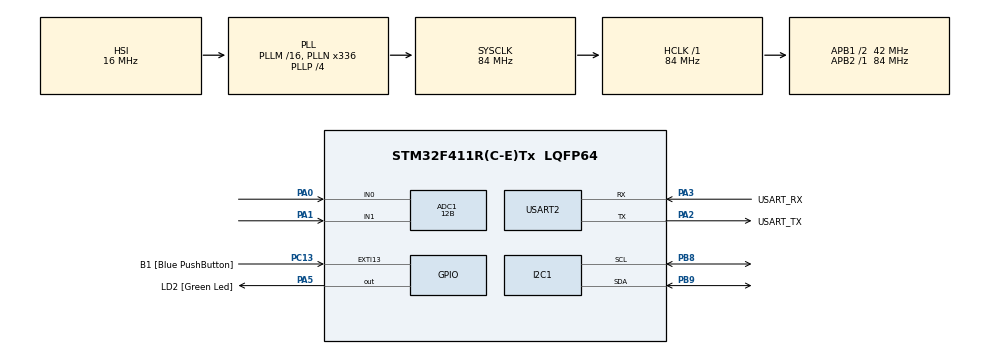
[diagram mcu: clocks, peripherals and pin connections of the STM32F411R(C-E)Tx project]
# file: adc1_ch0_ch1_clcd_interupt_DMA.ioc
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ADC1.Channel-0\#ChannelRegularConversion=ADC_CHANNEL_0
ADC1.Channel-1\#ChannelRegularConversion=ADC_CHANNEL_1
ADC1.ClockPrescaler=ADC_CLOCK_SYNC_PCLK_DIV6
ADC1.DMAContinuousRequests=ENABLE
ADC1.NbrOfConversion=2
ADC1.NbrOfConversionFlag=1
ADC1.Rank-0\#ChannelRegularConversion=1
ADC1.Rank-1\#ChannelRegularConversion=2
ADC1.Resolution=ADC_RESOLUTION_12B
ADC1.SamplingTime-0\#ChannelRegularConversion=ADC_SAMPLETIME_56CYCLES
ADC1.SamplingTime-1\#ChannelRegularConversion=ADC_SAMPLETIME_56CYCLES
ADC1.ScanConvMode=ENABLE
ADC1.master=1
Dma.ADC1.0.Direction=DMA_PERIPH_TO_MEMORY
Dma.ADC1.0.FIFOMode=DMA_FIFOMODE_DISABLE
Dma.ADC1.0.Instance=DMA2_Stream0
Dma.ADC1.0.MemDataAlignment=DMA_MDATAALIGN_HALFWORD
Dma.ADC1.0.MemInc=DMA_MINC_ENABLE
Dma.ADC1.0.Mode=DMA_NORMAL
Dma.ADC1.0.PeriphDataAlignment=DMA_PDATAALIGN_HALFWORD
Dma.ADC1.0.PeriphInc=DMA_PINC_DISABLE
Dma.ADC1.0.Priority=DMA_PRIORITY_LOW
Dma.Request0=ADC1
Mcu.Family=STM32F4
Mcu.Name=STM32F411R(C-E)Tx
Mcu.Package=LQFP64
NVIC.ADC_IRQn=true\:0\:0\:false\:false\:true\:true\:true\:true
NVIC.DMA2_Stream0_IRQn=true\:0\:0\:false\:false\:true\:false\:true\:true
NVIC.PriorityGroup=NVIC_PRIORITYGROUP_0
PA0-WKUP.Signal=ADCx_IN0
PA1.Signal=ADCx_IN1
PA13.GPIO_Label=TMS
PA13.Mode=Serial_Wire
PA13.Signal=SYS_JTMS-SWDIO
PA14.GPIO_Label=TCK
PA14.Mode=Serial_Wire
PA14.Signal=SYS_JTCK-SWCLK
PA2.GPIO_Label=USART_TX
PA2.Mode=Asynchronous
PA2.Signal=USART2_TX
PA3.GPIO_Label=USART_RX
PA3.Mode=Asynchronous
PA3.Signal=USART2_RX
PA5.GPIO_Label=LD2 [Green Led]
PA5.Signal=GPIO_Output
PB3.GPIO_Label=SWO
PB3.Signal=SYS_JTDO-SWO
PB8.Mode=I2C
PB8.Signal=I2C1_SCL
PB9.Mode=I2C
PB9.Signal=I2C1_SDA
PC13-ANTI_TAMP.GPIO_Label=B1 [Blue PushButton]
PC13-ANTI_TAMP.GPIO_ModeDefaultEXTI=GPIO_MODE_IT_FALLING
PC13-ANTI_TAMP.Signal=GPXTI13
PC14-OSC32_IN.Signal=RCC_OSC32_IN
PC15-OSC32_OUT.Signal=RCC_OSC32_OUT
PH0\ -\ OSC_IN.Signal=RCC_OSC_IN
PH1\ -\ OSC_OUT.Signal=RCC_OSC_OUT
ProjectManager.HeapSize=0x200
ProjectManager.StackSize=0x400
ProjectManager.TargetToolchain=STM32CubeIDE
RCC.48MHZClocksFreq_Value=84000000
RCC.AHBFreq_Value=84000000
RCC.APB1CLKDivider=RCC_HCLK_DIV2
RCC.APB1Freq_Value=42000000
RCC.APB1TimFreq_Value=84000000
RCC.APB2Freq_Value=84000000
RCC.APB2TimFreq_Value=84000000
RCC.CortexFreq_Value=84000000
RCC.FLatency-AdvancedSettings=FLASH_LATENCY_2
RCC.HCLKFreq_Value=84000000
RCC.HSE_VALUE=8000000
RCC.HSI_VALUE=16000000
RCC.LSE_VALUE=32768
RCC.PLLN=336
RCC.PLLP=RCC_PLLP_DIV4
RCC.SYSCLKFreq_VALUE=84000000
RCC.SYSCLKSource=RCC_SYSCLKSOURCE_PLLCLK
RCC.VCOOutputFreq_Value=336000000
SH.ADCx_IN0.0=ADC1_IN0,IN0
SH.ADCx_IN1.0=ADC1_IN1,IN1
USART2.VirtualMode=VM_ASYNC
board=NUCLEO-F411RE

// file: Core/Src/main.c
/* USER CODE BEGIN Header */
/**
  ******************************************************************************
  * @file           : main.c
  * @brief          : Main program body
  ******************************************************************************
  * @attention
  *
  * Copyright (c) 2025 STMicroelectronics.
  * All rights reserved.
  *
  * This software is licensed under terms that can be found in the LICENSE file
  * in the root directory of this software component.
  * If no LICENSE file comes with this software, it is provided AS-IS.
  *
  ******************************************************************************
  */
/* USER CODE END Header */
#include "main.h"

/* USER CODE BEGIN Includes */
#include "clcd.h"
#include <stdio.h>
/* USER CODE END Includes */

/* USER CODE BEGIN PD */
#ifdef __GNUC__
/* With GCC, small printf (option LD Linker->Libraries->Small printf
   set to 'Yes') calls __io_putchar() */
#define PUTCHAR_PROTOTYPE int __io_putchar(int ch)
#else
#define PUTCHAR_PROTOTYPE int fputc(int ch, FILE *f)
#endif /* __GNUC__ */
/* USER CODE END PD */

ADC_HandleTypeDef hadc1;
DMA_HandleTypeDef hdma_adc1;

I2C_HandleTypeDef hi2c1;

UART_HandleTypeDef huart2;

/* USER CODE BEGIN PV */
__IO uint16_t ADC1ConvertValue[2] = {0, };
__IO int adcFlag = 0;
/* USER CODE END PV */

void SystemClock_Config(void);
static void MX_GPIO_Init(void);
static void MX_DMA_Init(void);
static void MX_USART2_UART_Init(void);
static void MX_I2C1_Init(void);
static void MX_ADC1_Init(void);

int main(void)
{

  /* USER CODE BEGIN 1 */

	char lcd_buf1[17];
	char lcd_buf2[17];
  /* USER CODE END 1 */

  /* MCU Configuration--------------------------------------------------------*/

  /* Reset of all peripherals, Initializes the Flash interface and the Systick. */
  HAL_Init();

  /* Configure the system clock */
  SystemClock_Config();

  /* Initialize all configured peripherals */
  MX_GPIO_Init();
  MX_DMA_Init();
  MX_USART2_UART_Init();
  MX_I2C1_Init();
  MX_ADC1_Init();
  /* USER CODE BEGIN 2 */
  LCD_init(&hi2c1);
  printf("start main() adc1_ch0_ch1_clcd_interupt\r\n");
  LCD_writeStringXY(0, 0, "start main()!");
  LCD_writeStringXY(1, 0, "adc1_ch0_ch1_clcd");

//  if(HAL_ADC_Start_IT(&hadc1) != HAL_OK)
//	  Error_Handler();

  if(HAL_ADC_Start_DMA(&hadc1, ADC1ConvertValue, 2) != HAL_OK)
  	  Error_Handler();

  /* USER CODE END 2 */

  /* Infinite loop */
  /* USER CODE BEGIN WHILE */
  while (1)
  {
#if 0
	  if(HAL_ADC_Start(&hadc1) != HAL_OK)
		  Error_Handler();
	  for(int i = 0; i < 2; i++)
	  {
		HAL_ADC_PollForConversion(&hadc1, 100);
		if((HAL_ADC_GetState(&hadc1) & HAL_ADC_STATE_REG_EOC) == HAL_ADC_STATE_REG_EOC)
		{
//			printf("ADC ch%d = %lu\r\n", i, HAL_ADC_GetValue(&hadc1));
			ADC1ConvertVaue[i] = HAL_ADC_GetValue(&hadc1);
		}
	  }
	  HAL_ADC_Stop(&hadc1);
#endif
	  if(adcFlag)
	  {
		  sprintf(lcd_buf1, "VAR : %lu        ", ADC1ConvertValue[0]);
		  sprintf(lcd_buf2, "CDS : %lu        ", ADC1ConvertValue[1]);

		  LCD_writeStringXY(0, 0, lcd_buf1);
		  LCD_writeStringXY(1, 0, lcd_buf2);

		  printf("VAR = %lu, VAR_V = %lf CDS = %lu\r\n", ADC1ConvertValue[0], ADC1ConvertValue[0] * 3.3 / 4096, ADC1ConvertValue[1]);
		  adcFlag = 0;
		  if(HAL_ADC_Start_DMA(&hadc1, ADC1ConvertValue, 2) != HAL_OK)
		  	  Error_Handler();
		  //HAL_Delay(100);
	  }
    /* USER CODE END WHILE */

  }
}

void SystemClock_Config(void)
{
  RCC_OscInitTypeDef RCC_OscInitStruct = {0};
  RCC_ClkInitTypeDef RCC_ClkInitStruct = {0};

  /** Configure the main internal regulator output voltage
  */
  __HAL_RCC_PWR_CLK_ENABLE();
  __HAL_PWR_VOLTAGESCALING_CONFIG(PWR_REGULATOR_VOLTAGE_SCALE1);

  /** Initializes the RCC Oscillators according to the specified parameters
  * in the RCC_OscInitTypeDef structure.
  */
  RCC_OscInitStruct.OscillatorType = RCC_OSCILLATORTYPE_HSI;
  RCC_OscInitStruct.HSIState = RCC_HSI_ON;
  RCC_OscInitStruct.HSICalibrationValue = RCC_HSICALIBRATION_DEFAULT;
  RCC_OscInitStruct.PLL.PLLState = RCC_PLL_ON;
  RCC_OscInitStruct.PLL.PLLSource = RCC_PLLSOURCE_HSI;
  RCC_OscInitStruct.PLL.PLLM = 16;
  RCC_OscInitStruct.PLL.PLLN = 336;
  RCC_OscInitStruct.PLL.PLLP = RCC_PLLP_DIV4;
  RCC_OscInitStruct.PLL.PLLQ = 4;
  if (HAL_RCC_OscConfig(&RCC_OscInitStruct) != HAL_OK)
  {
    Error_Handler();
  }

  /** Initializes the CPU, AHB and APB buses clocks
  */
  RCC_ClkInitStruct.ClockType = RCC_CLOCKTYPE_HCLK|RCC_CLOCKTYPE_SYSCLK
                              |RCC_CLOCKTYPE_PCLK1|RCC_CLOCKTYPE_PCLK2;
  RCC_ClkInitStruct.SYSCLKSource = RCC_SYSCLKSOURCE_PLLCLK;
  RCC_ClkInitStruct.AHBCLKDivider = RCC_SYSCLK_DIV1;
  RCC_ClkInitStruct.APB1CLKDivider = RCC_HCLK_DIV2;
  RCC_ClkInitStruct.APB2CLKDivider = RCC_HCLK_DIV1;

  if (HAL_RCC_ClockConfig(&RCC_ClkInitStruct, FLASH_LATENCY_2) != HAL_OK)
  {
    Error_Handler();
  }
}

static void MX_ADC1_Init(void)
{

  ADC_ChannelConfTypeDef sConfig = {0};

  /** Configure the global features of the ADC (Clock, Resolution, Data Alignment and number of conversion)
  */
  hadc1.Instance = ADC1;
  hadc1.Init.ClockPrescaler = ADC_CLOCK_SYNC_PCLK_DIV6;
  hadc1.Init.Resolution = ADC_RESOLUTION_12B;
  hadc1.Init.ScanConvMode = ENABLE;
  hadc1.Init.ContinuousConvMode = DISABLE;
  hadc1.Init.DiscontinuousConvMode = DISABLE;
  hadc1.Init.ExternalTrigConvEdge = ADC_EXTERNALTRIGCONVEDGE_NONE;
  hadc1.Init.ExternalTrigConv = ADC_SOFTWARE_START;
  hadc1.Init.DataAlign = ADC_DATAALIGN_RIGHT;
  hadc1.Init.NbrOfConversion = 2;
  hadc1.Init.DMAContinuousRequests = ENABLE;
  hadc1.Init.EOCSelection = ADC_EOC_SINGLE_CONV;
  if (HAL_ADC_Init(&hadc1) != HAL_OK)
  {
    Error_Handler();
  }

  /** Configure for the selected ADC regular channel its corresponding rank in the sequencer and its sample time.
  */
  sConfig.Channel = ADC_CHANNEL_0;
  sConfig.Rank = 1;
  sConfig.SamplingTime = ADC_SAMPLETIME_56CYCLES;
  if (HAL_ADC_ConfigChannel(&hadc1, &sConfig) != HAL_OK)
  {
    Error_Handler();
  }

  /** Configure for the selected ADC regular channel its corresponding rank in the sequencer and its sample time.
  */
  sConfig.Channel = ADC_CHANNEL_1;
  sConfig.Rank = 2;
  if (HAL_ADC_ConfigChannel(&hadc1, &sConfig) != HAL_OK)
  {
    Error_Handler();
  }

}

static void MX_I2C1_Init(void)
{

  hi2c1.Instance = I2C1;
  hi2c1.Init.ClockSpeed = 100000;
  hi2c1.Init.DutyCycle = I2C_DUTYCYCLE_2;
  hi2c1.Init.OwnAddress1 = 0;
  hi2c1.Init.AddressingMode = I2C_ADDRESSINGMODE_7BIT;
  hi2c1.Init.DualAddressMode = I2C_DUALADDRESS_DISABLE;
  hi2c1.Init.OwnAddress2 = 0;
  hi2c1.Init.GeneralCallMode = I2C_GENERALCALL_DISABLE;
  hi2c1.Init.NoStretchMode = I2C_NOSTRETCH_DISABLE;
  if (HAL_I2C_Init(&hi2c1) != HAL_OK)
  {
    Error_Handler();
  }

}

static void MX_USART2_UART_Init(void)
{

  huart2.Instance = USART2;
  huart2.Init.BaudRate = 115200;
  huart2.Init.WordLength = UART_WORDLENGTH_8B;
  huart2.Init.StopBits = UART_STOPBITS_1;
  huart2.Init.Parity = UART_PARITY_NONE;
  huart2.Init.Mode = UART_MODE_TX_RX;
  huart2.Init.HwFlowCtl = UART_HWCONTROL_NONE;
  huart2.Init.OverSampling = UART_OVERSAMPLING_16;
  if (HAL_UART_Init(&huart2) != HAL_OK)
  {
    Error_Handler();
  }

}

static void MX_DMA_Init(void)
{

  /* DMA controller clock enable */
  __HAL_RCC_DMA2_CLK_ENABLE();

  /* DMA interrupt init */
  /* DMA2_Stream0_IRQn interrupt configuration */
  HAL_NVIC_SetPriority(DMA2_Stream0_IRQn, 0, 0);
  HAL_NVIC_EnableIRQ(DMA2_Stream0_IRQn);

}

static void MX_GPIO_Init(void)
{
  GPIO_InitTypeDef GPIO_InitStruct = {0};

  /* GPIO Ports Clock Enable */
  __HAL_RCC_GPIOC_CLK_ENABLE();
  __HAL_RCC_GPIOH_CLK_ENABLE();
  __HAL_RCC_GPIOA_CLK_ENABLE();
  __HAL_RCC_GPIOB_CLK_ENABLE();

  /*Configure GPIO pin Output Level */
  HAL_GPIO_WritePin(LD2_GPIO_Port, LD2_Pin, GPIO_PIN_RESET);

  /*Configure GPIO pin : B1_Pin */
  GPIO_InitStruct.Pin = B1_Pin;
  GPIO_InitStruct.Mode = GPIO_MODE_IT_FALLING;
  GPIO_InitStruct.Pull = GPIO_NOPULL;
  HAL_GPIO_Init(B1_GPIO_Port, &GPIO_InitStruct);

  /*Configure GPIO pin : LD2_Pin */
  GPIO_InitStruct.Pin = LD2_Pin;
  GPIO_InitStruct.Mode = GPIO_MODE_OUTPUT_PP;
  GPIO_InitStruct.Pull = GPIO_NOPULL;
  GPIO_InitStruct.Speed = GPIO_SPEED_FREQ_LOW;
  HAL_GPIO_Init(LD2_GPIO_Port, &GPIO_InitStruct);

}

/* USER CODE BEGIN 4 */

void HAL_ADC_ConvCpltCallback(ADC_HandleTypeDef *hadc)
{
	/*
	static int channel = 0;
	if(channel == 0)
	{

		ADC1ConvertValue[channel] = HAL_ADC_GetValue(hadc);
		channel = 1;
	}
	else if(channel == 1)
	{
		ADC1ConvertValue[channel] = HAL_ADC_GetValue(hadc);
		channel = 0;
		adcFlag = 1;
	}
	*/
	adcFlag = 1;
}

PUTCHAR_PROTOTYPE
{
  /* Place your implementation of fputc here */
  /* e.g. write a character to the USART6 and Loop until the end of transmission */
  HAL_UART_Transmit(&huart2, (uint8_t *)&ch, 1, 0xFFFF);

  return ch;
}
/* USER CODE END 4 */

void Error_Handler(void)
{
  __disable_irq();
  while (1)
  {
  }
}
